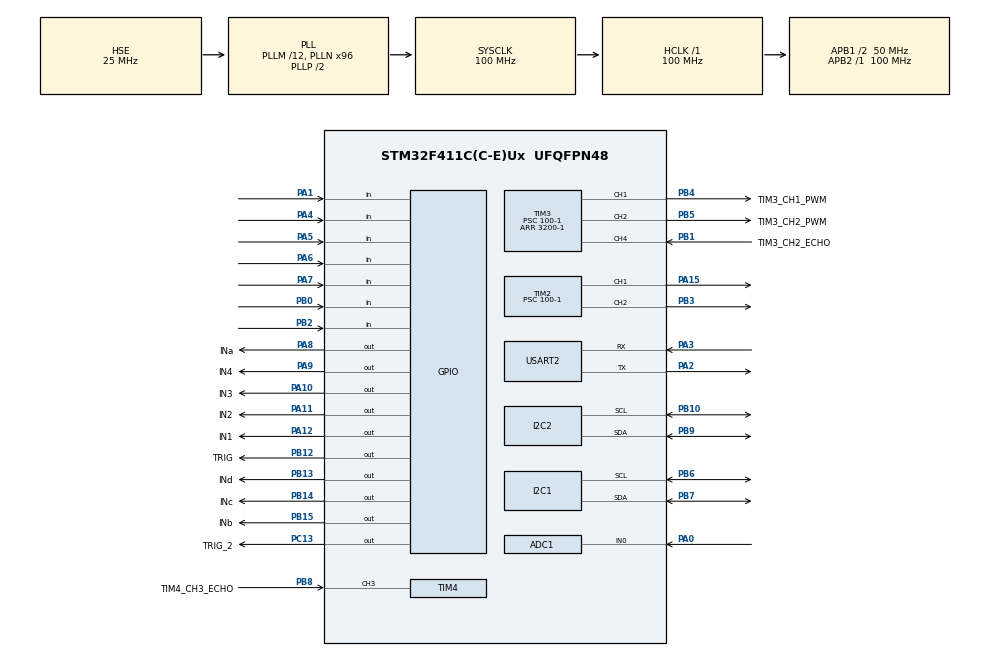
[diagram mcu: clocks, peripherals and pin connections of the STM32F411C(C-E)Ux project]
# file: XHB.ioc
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ADC1.Channel-0\#ChannelRegularConversion=ADC_CHANNEL_0
ADC1.NbrOfConversionFlag=1
ADC1.Rank-0\#ChannelRegularConversion=1
ADC1.SamplingTime-0\#ChannelRegularConversion=ADC_SAMPLETIME_3CYCLES
ADC1.master=1
Mcu.Family=STM32F4
Mcu.Name=STM32F411C(C-E)Ux
Mcu.Package=UFQFPN48
NVIC.PriorityGroup=NVIC_PRIORITYGROUP_4
NVIC.TIM1_BRK_TIM9_IRQn=true\:0\:0\:false\:false\:true\:true\:true\:true
NVIC.TIM1_CC_IRQn=true\:0\:0\:false\:false\:true\:true\:true\:true
NVIC.TIM1_TRG_COM_TIM11_IRQn=true\:0\:0\:false\:false\:true\:true\:true\:true
NVIC.TIM1_UP_TIM10_IRQn=true\:0\:0\:false\:false\:true\:true\:true\:true
NVIC.TIM2_IRQn=true\:0\:0\:false\:false\:true\:true\:true\:true
NVIC.TIM3_IRQn=true\:0\:0\:false\:false\:true\:true\:true\:true
NVIC.TIM4_IRQn=true\:0\:0\:false\:false\:true\:true\:true\:true
NVIC.USART2_IRQn=true\:0\:0\:false\:false\:true\:true\:true\:true
PA0-WKUP.Signal=ADCx_IN0
PA1.Signal=GPIO_Input
PA10.GPIO_Label=IN3
PA10.Signal=GPIO_Output
PA11.GPIO_Label=IN2
PA11.Signal=GPIO_Output
PA12.GPIO_Label=IN1
PA12.Signal=GPIO_Output
PA15.Signal=S_TIM2_CH1_ETR
PA2.Mode=Asynchronous
PA2.Signal=USART2_TX
PA3.Mode=Asynchronous
PA3.Signal=USART2_RX
PA4.Signal=GPIO_Input
PA5.Signal=GPIO_Input
PA6.Signal=GPIO_Input
PA7.Signal=GPIO_Input
PA8.GPIO_Label=INa
PA8.Signal=GPIO_Output
PA9.GPIO_Label=IN4
PA9.Signal=GPIO_Output
PB0.Signal=GPIO_Input
PB1.GPIO_Label=TIM3_CH2_ECHO
PB1.Signal=S_TIM3_CH4
PB10.Mode=I2C
PB10.Signal=I2C2_SCL
PB12.GPIO_Label=TRIG
PB12.Signal=GPIO_Output
PB13.GPIO_Label=INd
PB13.Signal=GPIO_Output
PB14.GPIO_Label=INc
PB14.Signal=GPIO_Output
PB15.GPIO_Label=INb
PB15.Signal=GPIO_Output
PB2.Signal=GPIO_Input
PB3.Signal=S_TIM2_CH2
PB4.GPIO_Label=TIM3_CH1_PWM
PB4.Signal=S_TIM3_CH1
PB5.GPIO_Label=TIM3_CH2_PWM
PB5.Signal=S_TIM3_CH2
PB6.Mode=I2C
PB6.Signal=I2C1_SCL
PB7.Mode=I2C
PB7.Signal=I2C1_SDA
PB8.GPIO_Label=TIM4_CH3_ECHO
PB8.Signal=S_TIM4_CH3
PB9.Mode=I2C
PB9.Signal=I2C2_SDA
PC13-ANTI_TAMP.GPIO_Label=TRIG_2
PC13-ANTI_TAMP.Signal=GPIO_Output
PH0\ -\ OSC_IN.Mode=HSE-External-Oscillator
PH0\ -\ OSC_IN.Signal=RCC_OSC_IN
PH1\ -\ OSC_OUT.Mode=HSE-External-Oscillator
PH1\ -\ OSC_OUT.Signal=RCC_OSC_OUT
ProjectManager.HeapSize=0x200
ProjectManager.StackSize=0x400
ProjectManager.TargetToolchain=STM32CubeIDE
RCC.48MHZClocksFreq_Value=50000000
RCC.AHBFreq_Value=100000000
RCC.APB1CLKDivider=RCC_HCLK_DIV2
RCC.APB1Freq_Value=50000000
RCC.APB1TimFreq_Value=100000000
RCC.APB2Freq_Value=100000000
RCC.APB2TimFreq_Value=100000000
RCC.CortexFreq_Value=100000000
RCC.HCLKFreq_Value=100000000
RCC.HSE_VALUE=25000000
RCC.HSI_VALUE=16000000
RCC.LSE_VALUE=32768
RCC.PLLM=12
RCC.PLLN=96
RCC.PLLSourceVirtual=RCC_PLLSOURCE_HSE
RCC.SYSCLKFreq_VALUE=100000000
RCC.SYSCLKSource=RCC_SYSCLKSOURCE_PLLCLK
RCC.VCOOutputFreq_Value=200000000
SH.ADCx_IN0.0=ADC1_IN0,IN0
SH.S_TIM2_CH1_ETR.0=TIM2_CH1,PWM Generation1 CH1
SH.S_TIM2_CH2.0=TIM2_CH2,PWM Generation2 CH2
SH.S_TIM3_CH1.0=TIM3_CH1,PWM Generation1 CH1
SH.S_TIM3_CH2.0=TIM3_CH2,PWM Generation2 CH2
SH.S_TIM3_CH4.0=TIM3_CH4,Input_Capture4_from_TI4
SH.S_TIM4_CH3.0=TIM4_CH3,Input_Capture3_from_TI3
TIM1.Channel-PWM\ Generation1\ No\ Output=TIM_CHANNEL_1
TIM1.Period=47999-1
TIM1.Prescaler=1000-1
TIM2.AutoReloadPreload=TIM_AUTORELOAD_PRELOAD_DISABLE
TIM2.Channel-PWM\ Generation1\ CH1=TIM_CHANNEL_1
TIM2.Channel-PWM\ Generation2\ CH2=TIM_CHANNEL_2
TIM2.Channel-PWM\ Generation3\ No\ Output=TIM_CHANNEL_3
TIM2.Period=3200-1
TIM2.Prescaler=100-1
TIM3.Channel-Input_Capture4_from_TI4=TIM_CHANNEL_4
TIM3.Channel-PWM\ Generation1\ CH1=TIM_CHANNEL_1
TIM3.Channel-PWM\ Generation2\ CH2=TIM_CHANNEL_2
TIM3.ICPolarity_CH4=TIM_INPUTCHANNELPOLARITY_BOTHEDGE
TIM3.Period=3200-1
TIM3.Prescaler=100-1
TIM4.Channel-Input_Capture3_from_TI3=TIM_CHANNEL_3
TIM4.Period=47999
TIM4.Prescaler=999
TIM5.Prescaler=9999
TIM9.Period=47999
TIM9.Prescaler=999
USART2.VirtualMode=VM_ASYNC
VP_TIM1_VS_ClockSourceINT.Mode=Internal
VP_TIM1_VS_no_output1.Mode=PWM Generation1 No Output
VP_TIM2_VS_ClockSourceINT.Mode=Internal
VP_TIM2_VS_no_output3.Mode=PWM Generation3 No Output
VP_TIM3_VS_ClockSourceINT.Mode=Internal
VP_TIM4_VS_ClockSourceINT.Mode=Internal
VP_TIM5_VS_ClockSourceINT.Mode=Internal
VP_TIM9_VS_ClockSourceINT.Mode=Internal
board=custom

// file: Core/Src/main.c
/* USER CODE BEGIN Header */
/**
  ******************************************************************************
  * @file           : main.c
  * @brief          : Main program body
  ******************************************************************************
  * @attention
  *
  * Copyright (c) 2023 STMicroelectronics.
  * All rights reserved.
  *
  * This software is licensed under terms that can be found in the LICENSE file
  * in the root directory of this software component.
  * If no LICENSE file comes with this software, it is provided AS-IS.
  *
  ******************************************************************************
  */
/* USER CODE END Header */
#include "main.h"
#include "adc.h"
#include "i2c.h"
#include "tim.h"
#include "usart.h"
#include "gpio.h"

/* USER CODE BEGIN Includes */
#include "stdio.h"
#include "motor.h"
#include "UltraSound.h"
#include "retarget.h"
#include "oled.h"
#include "GreySensor.h"
/* USER CODE END Includes */

/* USER CODE BEGIN PV */
uint16_t ADC_ARR[7] = {0};
uint8_t UART_REC[5] = {0};
uint32_t CNT = {0};
uint32_t CNT_2 = {0};
char flag = {2};
char flag_2 = {2};
//char ADC_CMP_FLAG = 0;
/* USER CODE END PV */

void SystemClock_Config(void);

int main(void)
{

  /* MCU Configuration--------------------------------------------------------*/

  /* Reset of all peripherals, Initializes the Flash interface and the Systick. */
  HAL_Init();

  /* USER CODE BEGIN Init */
    RetargetInit(&huart2);

  /* USER CODE END Init */

  /* Configure the system clock */
  SystemClock_Config();

  /* Initialize all configured peripherals */
  MX_GPIO_Init();
  MX_I2C1_Init();
  MX_TIM1_Init();
  MX_TIM2_Init();
  MX_TIM3_Init();
  MX_USART2_UART_Init();
  MX_TIM4_Init();
  MX_TIM5_Init();
  MX_ADC1_Init();
  MX_I2C2_Init();
  MX_TIM9_Init();
  /* USER CODE BEGIN 2 */
    //超声波
    UltraSound_Init(&CNT, &CNT_2);
    IN_Init(&flag, &flag_2);
    //开启捕获
    HAL_TIM_IC_Start_IT(&htim3, TIM_CHANNEL_4);
    //开启串口接收
    HAL_UART_Receive_IT(&huart2, UART_REC, 5);
    //开启电机调速PWM
    HAL_TIM_PWM_Start(&htim2, TIM_CHANNEL_1);
    HAL_TIM_PWM_Start(&htim3, TIM_CHANNEL_1);
    HAL_TIM_PWM_Start(&htim2, TIM_CHANNEL_2);
    HAL_TIM_PWM_Start(&htim3, TIM_CHANNEL_2);
    //pwm设置占空比
    IN1_2_SPD(50);
    IN3_4_SPD(50);
    INa_b_SPD(50);
    INc_d_SPD(50);
    //中值滤波

    GreySensor_Init(ADC_ARR);
//    开启电机
//    IN1_2_FWD();
//    IN3_4_FWD();
//    INa_b_FWD();
//    INc_d_FWD();
    //开启OLED
    OLED_Init();
    OLED_SetBrightness(128);
    OLED_ColorTurn(0);
    OLED_DisplayTurn(0);
//    OLED_ShowString(0,16,(uint8_t *)&"  WeAct Studio  ",16,0);
//    OLED_ShowString(0,34,(uint8_t *)&"OLED Module,IIC,5VMax",8,1);
//    OLED_Refresh();
//    HAL_Delay(1000);
//    OLED_ShowString(0,34,(uint8_t *)&"  WeAct Studio  ",16,0);
//    OLED_ShowString(0,56,(uint8_t *)&"OLED Module,IIC,5VMax",8,1);
//    OLED_ScrollDisplay(7,3,1);
  /* USER CODE END 2 */

  /* Infinite loop */
  /* USER CODE BEGIN WHILE */

    //UltraSound_SendTrig();
   // UltraSound_SendTrig_2();

    HAL_Delay(2000);
    //printf("InitOK\n");
    while (1) {

        IN_AI_Control();
        //printf("IN\n");

    /* USER CODE END WHILE */

    }
}

void SystemClock_Config(void)
{
  RCC_OscInitTypeDef RCC_OscInitStruct = {0};
  RCC_ClkInitTypeDef RCC_ClkInitStruct = {0};

  /** Configure the main internal regulator output voltage
  */
  __HAL_RCC_PWR_CLK_ENABLE();
  __HAL_PWR_VOLTAGESCALING_CONFIG(PWR_REGULATOR_VOLTAGE_SCALE1);

  /** Initializes the RCC Oscillators according to the specified parameters
  * in the RCC_OscInitTypeDef structure.
  */
  RCC_OscInitStruct.OscillatorType = RCC_OSCILLATORTYPE_HSE;
  RCC_OscInitStruct.HSEState = RCC_HSE_ON;
  RCC_OscInitStruct.PLL.PLLState = RCC_PLL_ON;
  RCC_OscInitStruct.PLL.PLLSource = RCC_PLLSOURCE_HSE;
  RCC_OscInitStruct.PLL.PLLM = 12;
  RCC_OscInitStruct.PLL.PLLN = 96;
  RCC_OscInitStruct.PLL.PLLP = RCC_PLLP_DIV2;
  RCC_OscInitStruct.PLL.PLLQ = 4;
  if (HAL_RCC_OscConfig(&RCC_OscInitStruct) != HAL_OK)
  {
    Error_Handler();
  }

  /** Initializes the CPU, AHB and APB buses clocks
  */
  RCC_ClkInitStruct.ClockType = RCC_CLOCKTYPE_HCLK|RCC_CLOCKTYPE_SYSCLK
                              |RCC_CLOCKTYPE_PCLK1|RCC_CLOCKTYPE_PCLK2;
  RCC_ClkInitStruct.SYSCLKSource = RCC_SYSCLKSOURCE_PLLCLK;
  RCC_ClkInitStruct.AHBCLKDivider = RCC_SYSCLK_DIV1;
  RCC_ClkInitStruct.APB1CLKDivider = RCC_HCLK_DIV2;
  RCC_ClkInitStruct.APB2CLKDivider = RCC_HCLK_DIV1;

  if (HAL_RCC_ClockConfig(&RCC_ClkInitStruct, FLASH_LATENCY_3) != HAL_OK)
  {
    Error_Handler();
  }
}

/* USER CODE BEGIN 4 */

//void HAL_ADC_ConvCpltCallback(ADC_HandleTypeDef* hadc){
//
//}
void HAL_UART_RxCpltCallback(UART_HandleTypeDef *huart)//自定义回调函数 在UART_Receive_IT()中调用
{
    //判断是哪个串口触发的中断  huart1.Instance = USART1;定义在MX_USART1_UART_Init中
    if (huart == &huart2)//huart ->Instance == USART1两种判断条件等价
    {
        HAL_UART_Receive_IT(&huart2, UART_REC, 5);//完成一次接受，再此开启中断

    }
}

void HAL_TIM_IC_CaptureCallback(TIM_HandleTypeDef *htim) {
    if (htim->Instance == TIM3)//
    {

        if (flag == 0) {
            htim4.Instance->CNT = 0;
            HAL_TIM_Base_Start_IT(&htim4);
            flag = 1;
        } else {
            HAL_TIM_Base_Stop_IT(&htim4);
            CNT = htim4.Instance->CNT;
            flag = 2;
        }
    } else if (htim->Instance == TIM4) {

        if (flag_2 == 0) {
            htim4.Instance->CNT = 0;
            HAL_TIM_Base_Start_IT(&htim9);
            flag_2 = 1;
        } else {
            HAL_TIM_Base_Stop_IT(&htim9);
            CNT = htim9.Instance->CNT;
            flag_2 = 2;
        }
    }
}

void HAL_TIM_PeriodElapsedCallback(TIM_HandleTypeDef *htim) {
    if (htim->Instance == TIM4) {
        CNT = 0XFFFF;
        flag = 2;
        HAL_TIM_Base_Stop_IT(&htim4);
    } else if (htim->Instance == TIM9) {
        CNT_2 = 0XFFFF;
        flag_2 = 2;
        HAL_TIM_Base_Stop_IT(&htim9);
    }
}
/* USER CODE END 4 */

void Error_Handler(void)
{
    __disable_irq();
    while (1) {
    }
}
